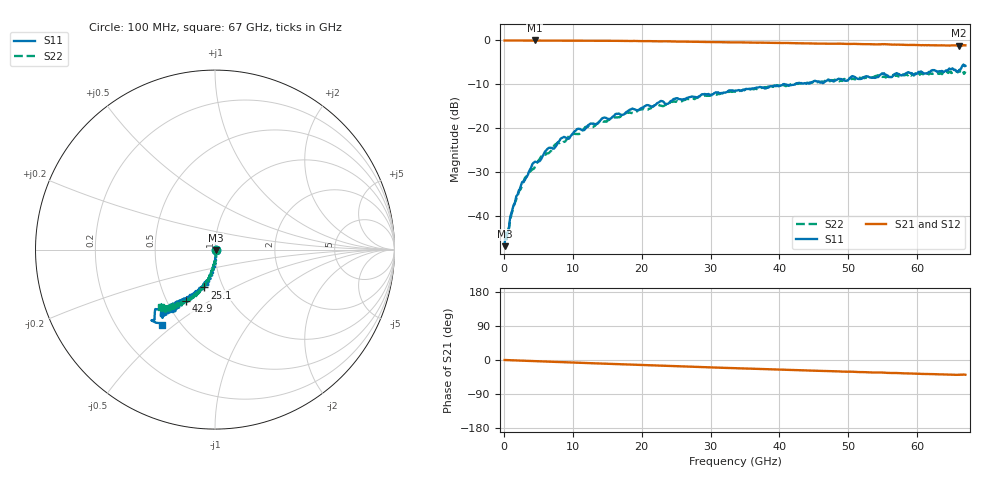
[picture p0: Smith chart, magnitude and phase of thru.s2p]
!  2-Port S-parameters saved by WinCal
! VAR MeasName=S-Parameters (CALIBRATED_DATA) read from VNA (N5247A)
! VAR MeasDate=2020/12/15 16:20:02
! VAR NAME=PAD_THRU
! VAR FILENAME=PAD_THRU.S2P
! VAR DATE=2020/12/15 16:20:02
! VAR PHYS_PORTS=1,2
! VAR ObjTypeName=DATASET
! VAR IndexType=Frequency
# Hz S MA R 50
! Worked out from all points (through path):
!   670 points, 100 MHz to 67 GHz, reference 50 ohm
!   highest |S21| = 0.00 dB at 4.5 GHz (marker M1); lowest = -1.2 dB at 66.1 GHz (marker M2)
!   group delay of S21, straight-line fit = 1.64 ps
!   lowest |S11| = -47.0 dB at 100 MHz (marker M3), VSWR 1.01, Z = 50.4 - j0.159 ohm
!   |S11| at or under -10 dB: start of sweep to 40.55 GHz; 40.79 GHz to 42.34 GHz (1.543 GHz wide, 3.71 % of centre)
!   |S22| runs from -44.7 to -6.8 dB; largest |S21 - S12| = 0.0033
!   S11 on the Smith chart (normalised r, x): 100 MHz: 1.01, -0.00; 25.1 GHz: 0.82, -0.36; 42.9 GHz: 0.62, -0.40; 67 GHz: 0.40, -0.45
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1e8  0.004476 -20.7  0.9978 0.0  0.9981 0.0  0.00653 4.0
5e8  0.006156 -34.4  0.9985 -0.3  0.9989 -0.3  0.007051 -35.7
1.2e9  0.01152 -58.1  0.9983 -0.8  0.9987 -0.8  0.011 -58.0
2e9  0.01741 -69.7  0.9987 -1.3  0.999 -1.3  0.01688 -68.8
3.2e9  0.02696 -79.6  0.9989 -2.1  0.9994 -2.1  0.02756 -79.9
4.5e9  0.04119 -79.7  0.9995 -3.0  1 -3.0  0.03618 -82.6
5.2e9  0.0419 -85.0  0.9987 -3.4  0.9994 -3.4  0.04439 -83.7
6.3e9  0.05748 -87.0  0.9985 -4.2  0.9989 -4.2  0.05152 -89.2
7.6e9  0.06275 -92.5  0.9979 -5.0  0.9984 -5.0  0.06595 -89.7
8.5e9  0.07741 -90.0  0.998 -5.6  0.9984 -5.6  0.06781 -92.9
1.13e10  0.09486 -90.7  0.9961 -7.5  0.9967 -7.5  0.09115 -92.0
1.45e10  0.1313 -96.3  0.9919 -9.6  0.9923 -9.6  0.1178 -99.7
2.24e10  0.1946 -106.4  0.9764 -14.9  0.977 -14.8  0.1835 -104.7
2.51e10  0.219 -105.9  0.9707 -16.5  0.9715 -16.5  0.2015 -107.5
3.36e10  0.2682 -113.6  0.95 -21.6  0.9512 -21.6  0.2593 -112.6
4.29e10  0.3279 -120.1  0.9282 -27.0  0.929 -27.0  0.3226 -118.3
4.47e10  0.3345 -123.2  0.9227 -28.0  0.924 -27.9  0.3278 -119.8
5.5e10  0.4182 -124.8  0.9054 -33.1  0.9067 -33.1  0.3827 -127.3
5.59e10  0.3825 -123.9  0.9035 -34.1  0.9046 -34.1  0.3816 -125.0
6.49e10  0.4657 -129.4  0.8775 -38.6  0.8787 -38.6  0.4275 -130.7
6.61e10  0.4587 -133.3  0.8694 -39.3  0.8713 -39.2  0.4582 -130.9
6.7e10  0.5126 -125.4  0.8791 -38.9  0.8802 -38.9  0.4419 -133.2
